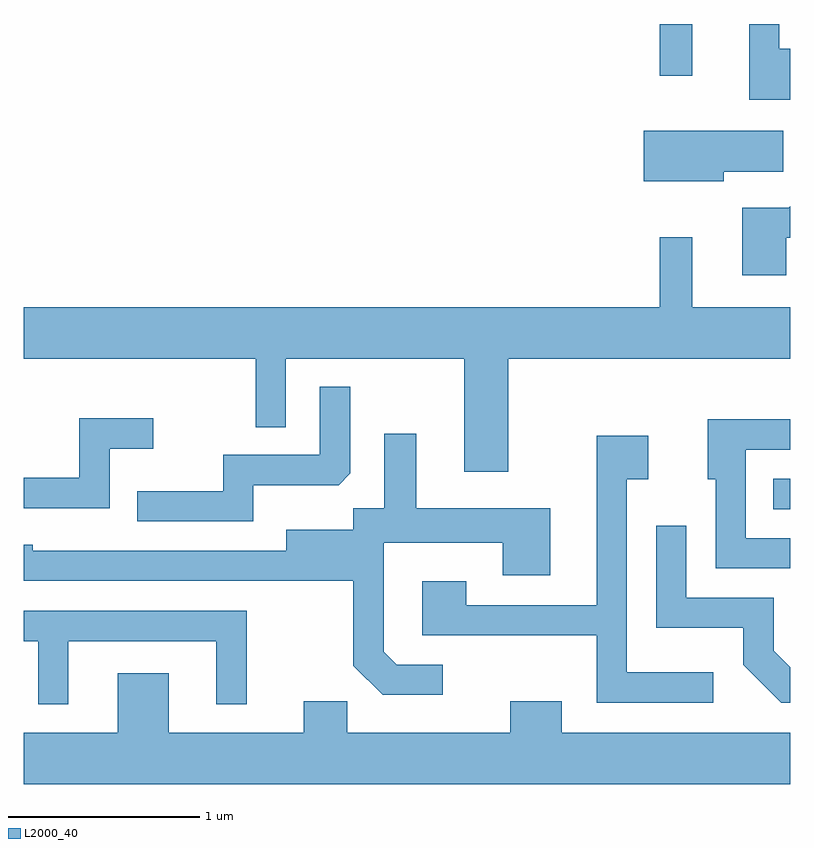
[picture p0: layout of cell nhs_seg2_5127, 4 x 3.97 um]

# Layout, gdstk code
import gdstk
lib = gdstk.Library(unit=1e-6, precision=1e-09)
def R(c, l, rs):  # rectangles x0, y0, x1, y1
    for r in rs: c.add(gdstk.rectangle(r[:2], r[2:], *l))
def P(c, l, *ps):  # polygons
    for p in ps: c.add(gdstk.Polygon(p, *l))
L2000_40 = (2000, 40)

nhs_seg2_5127 = lib.new_cell('nhs_seg2_5127')
R(nhs_seg2_5127, L2000_40, [(339.523,1085.271,339.611,1085.429), (338.931,1087.533,339.099,1087.802)])
P(nhs_seg2_5127, L2000_40, [(339.611,1087.674),(339.554,1087.674),(339.554,1087.802),(339.396,1087.802),(339.396,1087.406),(339.611,1087.406)],
  [(339.264,1087.031),(339.574,1087.031),(339.574,1087.244),(338.846,1087.244),(338.846,1086.981),(339.264,1086.981)],
  [(339.589,1086.686),(339.611,1086.686),(339.611,1086.851),(339.604,1086.844),(339.361,1086.844),(339.361,1086.491),(339.589,1086.491)],
  [(335.611,1086.056),(336.821,1086.056),(336.821,1085.698),(336.979,1085.698),(336.979,1086.056),(337.911,1086.056),(337.911,1085.466),(338.139,1085.466),(338.139,1086.056),(339.611,1086.056),(339.611,1086.324),(339.099,1086.324),(339.099,1086.688),(338.931,1086.688),(338.931,1086.324),(335.611,1086.324)],
  [(336.809,1085.396),(337.254,1085.396),(337.314,1085.457),(337.314,1085.908),(337.156,1085.908),(337.156,1085.554),(336.651,1085.554),(336.651,1085.364),(336.203,1085.364),(336.203,1085.206),(336.809,1085.206)],
  [(336.059,1085.586),(336.288,1085.586),(336.288,1085.744),(335.901,1085.744),(335.901,1085.434),(335.611,1085.434),(335.611,1085.276),(336.059,1085.276)],
  [(339.611,1085.119),(339.379,1085.119),(339.379,1085.581),(339.611,1085.581),(339.611,1085.739),(339.181,1085.739),(339.181,1085.426),(339.221,1085.426),(339.221,1084.961),(339.611,1084.961)],
  [(337.798,1084.459),(337.557,1084.459),(337.489,1084.527),(337.489,1085.096),(338.111,1085.096),(338.111,1084.926),(338.359,1084.926),(338.359,1085.274),(337.659,1085.274),(337.659,1085.663),(337.491,1085.663),(337.491,1085.274),(337.331,1085.274),(337.331,1085.164),(336.981,1085.164),(336.981,1085.054),(335.659,1085.054),(335.659,1085.084),(335.611,1085.084),(335.611,1084.896),(337.331,1084.896),(337.331,1084.454),(337.484,1084.301),(337.798,1084.301)],
  [(339.208,1084.419),(338.759,1084.419),(338.759,1085.426),(338.869,1085.426),(338.869,1085.654),(338.601,1085.654),(338.601,1084.769),(337.919,1084.769),(337.919,1084.894),(337.691,1084.894),(337.691,1084.611),(338.601,1084.611),(338.601,1084.261),(339.208,1084.261)],
  [(339.611,1084.445),(339.524,1084.532),(339.524,1084.809),(339.069,1084.809),(339.069,1085.183),(338.911,1085.183),(338.911,1084.651),(339.366,1084.651),(339.366,1084.459),(339.564,1084.261),(339.611,1084.261)],
  [(335.844,1084.581),(336.616,1084.581),(336.616,1084.253),(336.774,1084.253),(336.774,1084.739),(335.611,1084.739),(335.611,1084.581),(335.686,1084.581),(335.686,1084.253),(335.844,1084.253)],
  [(339.611,1084.104),(338.419,1084.104),(338.419,1084.269),(338.151,1084.269),(338.151,1084.104),(337.299,1084.104),(337.299,1084.269),(337.071,1084.269),(337.071,1084.104),(336.369,1084.104),(336.369,1084.414),(336.101,1084.414),(336.101,1084.104),(335.611,1084.104),(335.611,1083.836),(339.611,1083.836)])

lib.write_gds('nhs_seg2_5127.gds')
